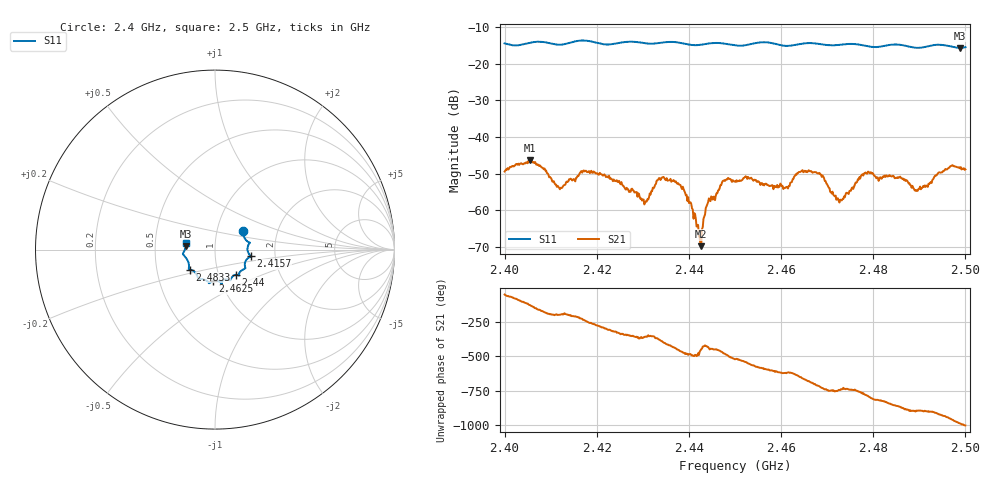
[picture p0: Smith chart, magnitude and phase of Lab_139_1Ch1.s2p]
# Hz S RI R 50
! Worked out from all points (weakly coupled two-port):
!   601 points, 2.4 GHz to 2.5 GHz, reference 50 ohm
!   highest |S21| = -46.36 dB at 2.4055 GHz (marker M1); lowest = -69.8 dB at 2.4427 GHz (marker M2)
!   lowest |S11| = -15.7 dB at 2.4988 GHz (marker M3), VSWR 1.39, Z = 36 + j1.36 ohm
!   |S11| at or under -10 dB: start of sweep to end of sweep
!   S12 and S22 are empty: the file has one direction only
!   S11 on the Smith chart (normalised r, x): 2.4 GHz: 1.33, +0.29; 2.4157 GHz: 1.49, -0.12; 2.44 GHz: 1.21, -0.35; 2.4625 GHz: 0.92, -0.34; 2.4833 GHz: 0.74, -0.17; 2.5 GHz: 0.72, +0.06
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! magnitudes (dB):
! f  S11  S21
! 2.4 GHz  -14.5  -49.5
! 2.4055 GHz  -14.3  -46.4
! 2.4118 GHz  -14.9  -53.9
! 2.4157 GHz  -13.9  -51.1
! 2.4167 GHz  -13.7  -49.3
! 2.4303 GHz  -14.4  -58.4
! 2.4333 GHz  -14.4  -51.6
! 2.4372 GHz  -14.2  -52.1
! 2.44 GHz  -14.8  -58.0
! 2.4427 GHz  -14.9  -69.8
! 2.4445 GHz  -14.5  -57.2
! 2.4477 GHz  -14.6  -51.8
! 2.45 GHz  -15.0  -52.2
! 2.461 GHz  -15.2  -53.8
! 2.4625 GHz  -15.0  -51.6
! 2.4667 GHz  -14.4  -49.5
! 2.473 GHz  -14.8  -57.2
! 2.4778 GHz  -15.0  -50.6
! 2.4833 GHz  -15.0  -50.7
! 2.4895 GHz  -15.7  -54.7
! 2.4988 GHz  -15.7  -48.6
! 2.5 GHz  -15.5  -48.9
